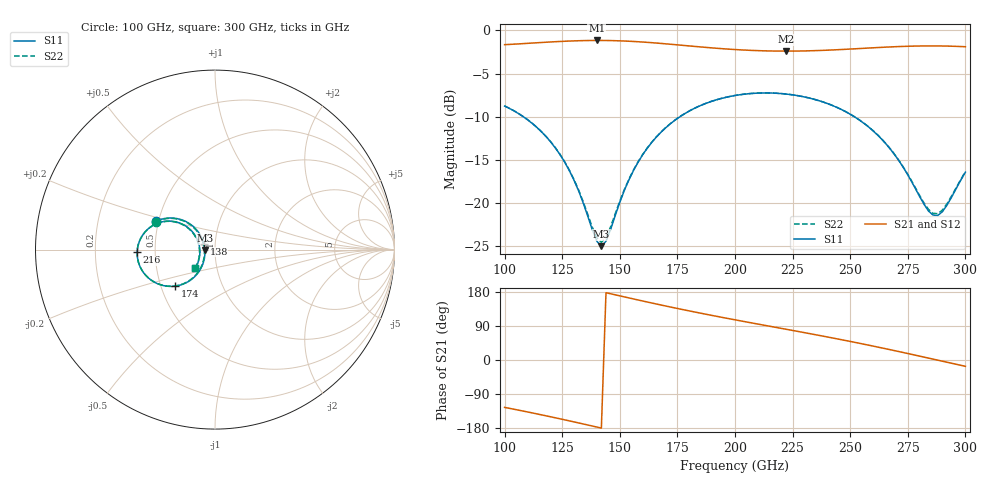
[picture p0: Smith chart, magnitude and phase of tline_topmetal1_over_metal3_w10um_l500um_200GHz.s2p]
#  GHZ S DB R 50
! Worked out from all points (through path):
!   101 points, 100 GHz to 300 GHz, reference 50 ohm
!   highest |S21| = -1.16 dB at 140 GHz (marker M1); lowest = -2.4 dB at 222 GHz (marker M2)
!   group delay of S21, straight-line fit = 3.44 ps
!   lowest |S11| = -25.0 dB at 142 GHz (marker M3), VSWR 1.12, Z = 44.7 - j0.29 ohm
!   |S11| at or under -10 dB: 108.1 GHz to 176.1 GHz (67.91 GHz wide, 47.8 % of centre); 251.8 GHz to end of sweep
!   |S22| runs from -24.5 to -7.2 dB; largest |S21 - S12| = 1e-13
!   S11 on the Smith chart (normalised r, x): 100 GHz: 0.48, +0.18; 138 GHz: 0.88, +0.06; 174 GHz: 0.59, -0.26; 216 GHz: 0.40, -0.01; 300 GHz: 0.79, -0.17
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100  -8.75 154.3  -1.65 -125.0  -1.65 -125.0  -8.75 154.7
110  -10.35 144.5  -1.50 -137.2  -1.50 -137.2  -10.34 145.0
120  -12.92 136.1  -1.34 -149.9  -1.34 -149.9  -12.89 136.9
128  -16.18 132.9  -1.24 -160.5  -1.24 -160.5  -16.13 133.9
134  -19.89 137.7  -1.18 -168.6  -1.18 -168.6  -19.75 139.1
138  -23.03 151.7  -1.17 -174.1  -1.17 -174.1  -22.74 153.2
140  -24.40 165.3  -1.16 -176.9  -1.16 -176.9  -24.01 166.4
142  -24.98 -176.7  -1.17 -179.7  -1.17 -179.7  -24.53 -176.6
144  -24.41 -158.7  -1.17 177.6  -1.17 177.6  -24.01 -159.5
156  -16.19 -126.1  -1.28 161.0  -1.28 161.0  -16.13 -127.0
168  -11.76 -132.4  -1.51 145.0  -1.51 145.0  -11.73 -132.8
174  -10.38 -137.7  -1.65 137.3  -1.65 137.3  -10.37 -138.0
186  -8.59 -149.2  -1.94 122.4  -1.94 122.4  -8.58 -149.4
200  -7.54 -162.8  -2.22 106.0  -2.22 106.0  -7.53 -162.9
216  -7.25 -178.0  -2.38 88.0  -2.38 88.0  -7.25 -178.0
222  -7.36 176.4  -2.40 81.3  -2.40 81.3  -7.36 176.5
234  -7.95 165.4  -2.35 67.8  -2.35 67.8  -7.95 165.5
252  -10.03 149.8  -2.13 46.6  -2.13 46.6  -10.02 150.2
268  -13.94 140.9  -1.91 26.3  -1.91 26.3  -13.91 141.5
286  -21.39 176.7  -1.80 2.3  -1.80 2.3  -21.18 177.0
290  -21.00 -162.0  -1.81 -3.2  -1.81 -3.2  -20.81 -162.2
300  -16.42 -136.7  -1.89 -16.7  -1.89 -16.7  -16.34 -137.2
